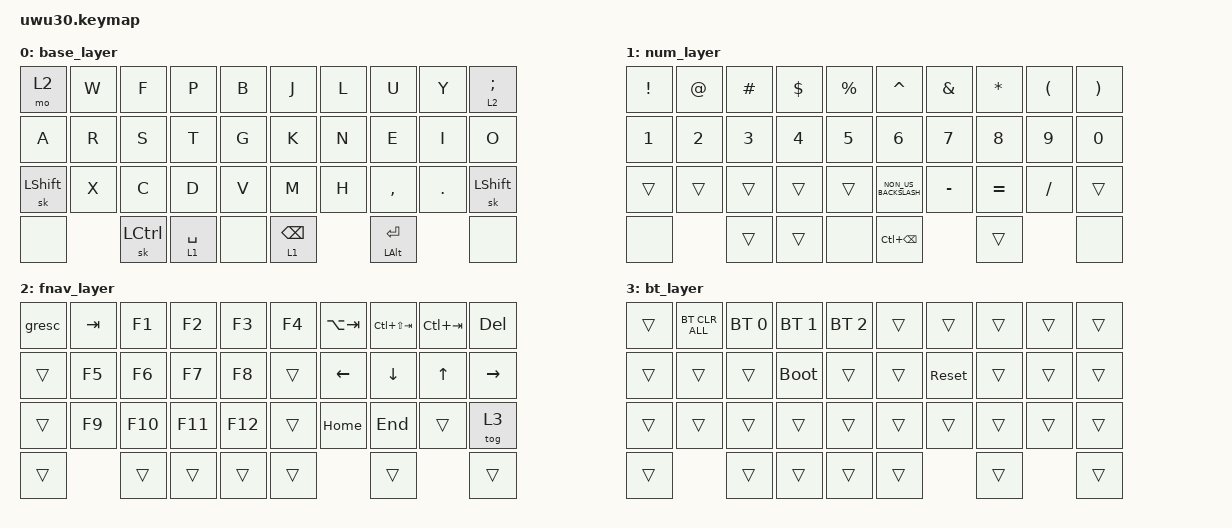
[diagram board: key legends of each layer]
/*
 * Copyright (c) 2023 The ZMK Contributors
 *
 * SPDX-License-Identifier: MIT
 */

#include <behaviors.dtsi>
#include <dt-bindings/zmk/bt.h>
#include <dt-bindings/zmk/keys.h>

/ {
    combos {
        compatible = "zmk,combos";

        combo_apostrophe {
            key-positions = <18 19>;
            bindings = <&kp SQT>;
            layers = <0>;
        };

        combo_lbracket {
            key-positions = <17 18>;
            bindings = <&kp LEFT_BRACKET>;
            layers = <1>;
        };

        combo_rbracket {
            bindings = <&kp RIGHT_BRACKET>;
            key-positions = <18 19>;
            layers = <1>;
        };

        combo_z {
            bindings = <&kp Z>;
            key-positions = <21 22>;
            layers = <0>;
        };

        combo_q {
            bindings = <&kp Q>;
            key-positions = <1 2>;
            layers = <0>;
        };

        comb_enter {
            bindings = <&kp ENTER>;
            key-positions = <27 28>;
            layers = <0>;
        };
    };
};

&mt { tapping-term-ms = <400>; };

/ {
    keymap {
        compatible = "zmk,keymap";

        base_layer {
            bindings = <
&mo 2      &kp W  &kp F      &kp P        &kp B  &kp J            &kp L  &kp U           &kp Y    &lt 2 SEMICOLON
&kp A      &kp R  &kp S      &kp T        &kp G  &kp K            &kp N  &kp E           &kp I    &kp O
&sk LSHFT  &kp X  &kp C      &kp D        &kp V  &kp M            &kp H  &kp COMMA       &kp DOT  &sk LSHIFT
&none             &sk LCTRL  &lt 1 SPACE  &none  &lt 1 BACKSPACE         &mt LALT ENTER           &none
            >;
        };

        num_layer {
            bindings = <
&kp EXCLAMATION  &kp AT_SIGN   &kp HASH      &kp DOLLAR    &kp PERCENT  &kp CARET             &kp AMPERSAND  &kp ASTERISK  &kp LEFT_PARENTHESIS  &kp RIGHT_PARENTHESIS
&kp NUMBER_1     &kp NUMBER_2  &kp NUMBER_3  &kp NUMBER_4  &kp N5       &kp NUMBER_6          &kp N7         &kp N8        &kp N9                &kp N0
&trans           &trans        &trans        &trans        &trans       &kp NON_US_BACKSLASH  &kp MINUS      &kp EQUAL     &kp SLASH             &trans
&none                          &trans        &trans        &none        &kp LC(BACKSPACE)                    &trans                              &none
            >;
        };

        fnav_layer {
            bindings = <
&gresc  &kp TAB  &kp F1   &kp F2   &kp F3   &kp F4  &kp LA(TAB)  &kp LC(LS(TAB))  &kp LC(TAB)   &kp DELETE
&trans  &kp F5   &kp F6   &kp F7   &kp F8   &trans  &kp LEFT     &kp DOWN         &kp UP_ARROW  &kp RIGHT
&trans  &kp F9   &kp F10  &kp F11  &kp F12  &trans  &kp HOME     &kp END          &trans        &tog 3
&trans           &trans   &trans   &trans   &trans               &trans                         &trans
            >;
        };

        bt_layer {
            bindings = <
&trans  &bt BT_CLR_ALL  &bt BT_SEL 0  &bt BT_SEL 1  &bt BT_SEL 2  &trans  &trans      &trans  &trans  &trans
&trans  &trans          &trans        &bootloader   &trans        &trans  &sys_reset  &trans  &trans  &trans
&trans  &trans          &trans        &trans        &trans        &trans  &trans      &trans  &trans  &trans
&trans                  &trans        &trans        &trans        &trans              &trans          &trans
            >;
        };
    };
};
